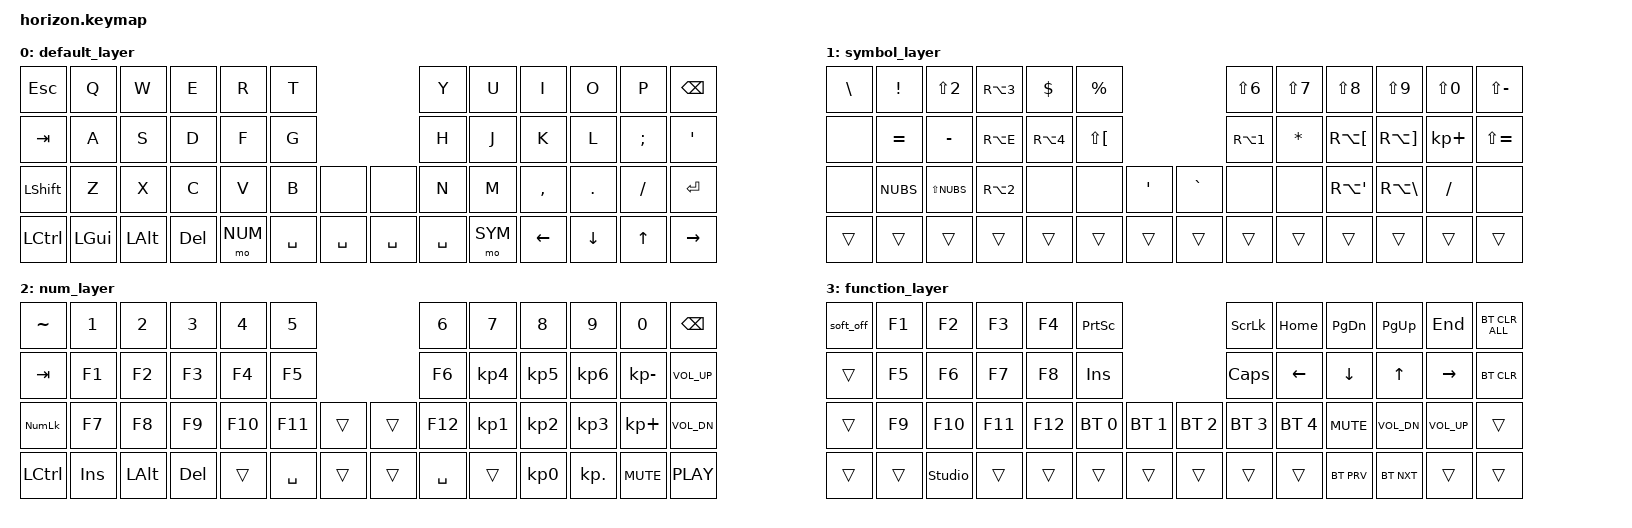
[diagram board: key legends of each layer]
/*
 * Copyright (c) 2021 The ZMK Contributors
 *
 * SPDX-License-Identifier: MIT
 */

#include <behaviors.dtsi>
#include <dt-bindings/zmk/keys.h>
#include <dt-bindings/zmk/bt.h>

#define DEF 0
#define SYM 1
#define NUM 2
#define FUN 3

&lt {
    tapping-term-ms = <180>;
    flavor = "tap-preferred";
};

/ {
    conditional_layers {
        compatible = "zmk,conditional-layers";

        function_layer_activation {
            if-layers = <SYM NUM>;
            then-layer = <FUN>;
        };
    };

    keymap {
        compatible = "zmk,keymap";

        default_layer {
            bindings = <
                &kp ESC     &kp Q    &kp W    &kp E     &kp R       &kp T                               &kp Y     &kp U     &kp I       &kp O       &kp P     &kp BSPC
                &kp TAB     &kp A    &kp S    &kp D     &kp F       &kp G                               &kp H     &kp J     &kp K       &kp L       &kp SEMI  &kp SQT
                &kp LSHFT   &kp Z    &kp X    &kp C     &kp V       &kp B       &none      &none        &kp N     &kp M     &kp COMMA   &kp DOT     &kp FSLH  &kp ENTER
                &kp LCTRL   &kp LGUI &kp LALT &kp DEL   &mo NUM     &kp SPACE   &kp SPACE  &kp SPACE    &kp SPACE &mo SYM   &kp LEFT    &kp DOWN    &kp UP    &kp RIGHT
            >;
        };

        symbol_layer {
            bindings = <
                &kp BSLH    &kp EXCL   &kp LS(N2)    &kp RA(N3)   &kp DLLR    &kp PRCNT                         &kp LS(N6)  &kp LS(N7)   &kp LS(N8)   &kp LS(N9)   &kp LS(N0)    &kp LS(MINUS)
                &none       &kp EQUAL  &kp MINUS     &kp RA(E)    &kp RA(N4)  &kp LS(LBKT)                      &kp RA(N1)  &kp ASTRK    &kp RA(LBKT) &kp RA(RBKT) &kp KP_PLUS   &kp LS(EQUAL)
                &none       &kp NUBS   &kp LS(NUBS)  &kp RA(N2)   &none       &none      &kp SQT    &kp GRAVE    &none       &none        &kp RA(SQT)  &kp RA(BSLH)  &kp FSLH     &none
                &trans      &trans     &trans        &trans       &trans      &trans     &trans     &trans       &trans      &trans       &trans       &trans       &trans       &trans
            >;
        };

        num_layer {
            bindings = <
                &kp TILDE      &kp N1     &kp N2     &kp N3     &kp N4     &kp N5                              &kp N6     &kp N7     &kp N8      &kp N9      &kp N0       &kp BSPC
                &kp TAB        &kp F1     &kp F2     &kp F3     &kp F4     &kp F5                              &kp F6     &kp KP_N4  &kp KP_N5   &kp KP_N6   &kp KP_MINUS &kp C_VOL_UP
                &kp KP_NUMLOCK &kp F7     &kp F8     &kp F9     &kp F10    &kp F11     &trans     &trans       &kp F12    &kp KP_N1  &kp KP_N2   &kp KP_N3   &kp KP_PLUS  &kp C_VOL_DN
                &kp LCTRL      &kp INS    &kp LALT   &kp DEL    &trans     &kp SPACE   &trans     &trans       &kp SPACE  &trans     &kp KP_N0   &kp KP_DOT  &kp C_MUTE   &kp C_PLAY
            >;
        };

        function_layer {
            bindings = <
                &soft_off   &kp F1     &kp F2         &kp F3    &kp F4    &kp PSCRN                            &kp SLCK    &kp HOME   &kp PG_DN    &kp PG_UP    &kp END          &bt BT_CLR_ALL
                &trans      &kp F5     &kp F6         &kp F7    &kp F8    &kp INS                              &kp CLCK    &kp LEFT   &kp DOWN     &kp UP       &kp RIGHT        &bt BT_CLR
                &trans      &kp F9     &kp F10        &kp F11   &kp F12   &bt BT_SEL 0 &bt BT_SEL 1 &bt BT_SEL 2 &bt BT_SEL 3 &bt BT_SEL 4 &kp C_MUTE &kp C_VOL_DN &kp C_VOL_UP &trans
                &trans      &trans     &studio_unlock &trans    &trans    &trans       &trans       &trans       &trans       &trans       &bt BT_PRV &bt BT_NXT   &trans       &trans
            >;
        };
    };
};
